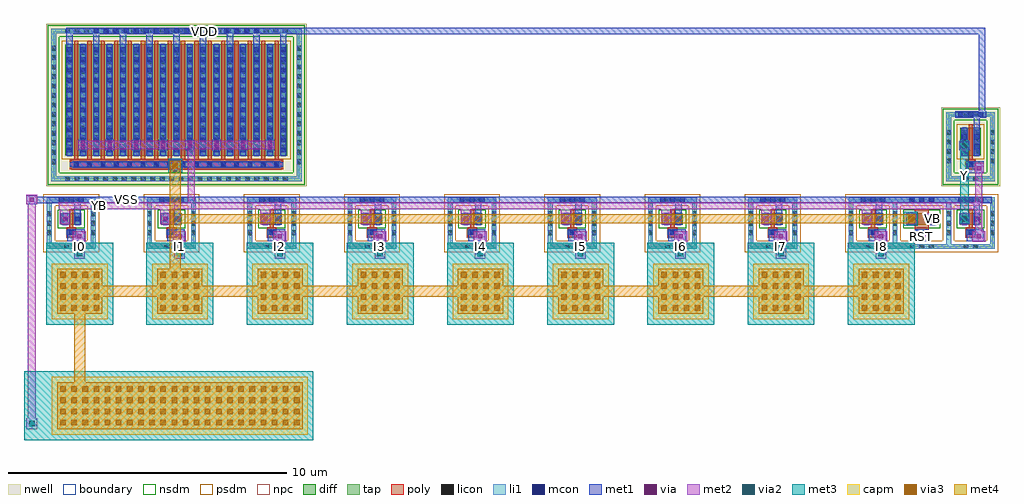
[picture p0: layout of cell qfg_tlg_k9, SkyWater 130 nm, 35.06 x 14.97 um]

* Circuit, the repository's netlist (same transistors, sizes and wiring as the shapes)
.subckt qfg_tlg_k9 I0 I1 I2 I3 I4 I5 I6 I7 I8 RST VB Y YB FG VDD VSS
XMP  YB FG VDD VDD sky130_fd_pr__pfet_01v8 W=64.0 L=0.15
XMNI0 YB I0 VSS VSS sky130_fd_pr__nfet_01v8 W=0.42 L=0.15
XMNI1 YB I1 VSS VSS sky130_fd_pr__nfet_01v8 W=0.42 L=0.15
XMNI2 YB I2 VSS VSS sky130_fd_pr__nfet_01v8 W=0.42 L=0.15
XMNI3 YB I3 VSS VSS sky130_fd_pr__nfet_01v8 W=0.42 L=0.15
XMNI4 YB I4 VSS VSS sky130_fd_pr__nfet_01v8 W=0.42 L=0.15
XMNI5 YB I5 VSS VSS sky130_fd_pr__nfet_01v8 W=0.42 L=0.15
XMNI6 YB I6 VSS VSS sky130_fd_pr__nfet_01v8 W=0.42 L=0.15
XMNI7 YB I7 VSS VSS sky130_fd_pr__nfet_01v8 W=0.42 L=0.15
XMNI8 YB I8 VSS VSS sky130_fd_pr__nfet_01v8 W=0.42 L=0.15
XCI0 FG I0 sky130_fd_pr__cap_mim_m3_1 W=2.0 L=2.0 MF=1
XCI1 FG I1 sky130_fd_pr__cap_mim_m3_1 W=2.0 L=2.0 MF=1
XCI2 FG I2 sky130_fd_pr__cap_mim_m3_1 W=2.0 L=2.0 MF=1
XCI3 FG I3 sky130_fd_pr__cap_mim_m3_1 W=2.0 L=2.0 MF=1
XCI4 FG I4 sky130_fd_pr__cap_mim_m3_1 W=2.0 L=2.0 MF=1
XCI5 FG I5 sky130_fd_pr__cap_mim_m3_1 W=2.0 L=2.0 MF=1
XCI6 FG I6 sky130_fd_pr__cap_mim_m3_1 W=2.0 L=2.0 MF=1
XCI7 FG I7 sky130_fd_pr__cap_mim_m3_1 W=2.0 L=2.0 MF=1
XCI8 FG I8 sky130_fd_pr__cap_mim_m3_1 W=2.0 L=2.0 MF=1
XCBL FG VSS sky130_fd_pr__cap_mim_m3_1 W=9.2 L=2.08 MF=1
XMR  FG RST VB VSS sky130_fd_pr__nfet_01v8 W=0.42 L=0.5
XIP  Y  YB VDD VDD sky130_fd_pr__pfet_01v8 W=1.0 L=0.15
XIN  Y  YB VSS VSS sky130_fd_pr__nfet_01v8 W=0.42 L=0.15
.ends qfg_tlg_k9

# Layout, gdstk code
import gdstk
lib = gdstk.Library(unit=1e-6, precision=1e-09)
def R(c, l, rs):  # rectangles x0, y0, x1, y1
    for r in rs: c.add(gdstk.rectangle(r[:2], r[2:], *l))
def A(c, l, x, y, w, h, nx, ny, dx, dy):  # array of equal rectangles
    R(c, l, [(x+i*dx, y+j*dy, x+i*dx+w, y+j*dy+h) for i in range(nx) for j in range(ny)])
nwell = (64, 20)
diff = (65, 20)
tap = (65, 44)
poly = (66, 20)
licon = (66, 44)
li1 = (67, 20)
mcon = (67, 44)
met1 = (68, 20)
via = (68, 44)
met2 = (69, 20)
via2 = (69, 44)
met3 = (70, 20)
via3 = (70, 44)
met4 = (71, 20)
capm = (89, 44)
nsdm = (93, 44)
psdm = (94, 20)
npc = (95, 20)
boundary = (235, 4)

sky130_fd_pr__nfet_01v8_ = lib.new_cell('sky130_fd_pr__nfet_01v8_M48NH5')
R(sky130_fd_pr__nfet_01v8_, diff, [(-0.365,-0.055,0.365,0.365)])
R(sky130_fd_pr__nfet_01v8_, tap, [(-0.875,-0.925,0.875,-0.755), (-0.875,-0.755,-0.705,0.755), (0.705,-0.755,0.875,0.755), (-0.875,0.755,0.875,0.925)])
R(sky130_fd_pr__nfet_01v8_, poly, [(-0.165,-0.495,0.165,-0.165), (-0.075,-0.165,0.075,0.495)])
A(sky130_fd_pr__nfet_01v8_, licon, -0.875, -0.425, 0.17, 0.17, 1, 3, 0, 0.34)
A(sky130_fd_pr__nfet_01v8_, licon, 0.705, -0.425, 0.17, 0.17, 1, 3, 0, 0.34)
R(sky130_fd_pr__nfet_01v8_, licon, [(-0.255,-0.925,-0.085,-0.755), (0.085,-0.925,0.255,-0.755), (-0.085,-0.415,0.085,-0.245), (-0.305,0.07,-0.135,0.24), (0.135,0.07,0.305,0.24), (-0.255,0.755,-0.085,0.925), (0.085,0.755,0.255,0.925)])
R(sky130_fd_pr__nfet_01v8_, li1, [(-0.875,-0.925,0.875,-0.755), (-0.875,-0.755,-0.705,0.755), (0.705,-0.755,0.875,0.755), (-0.165,-0.415,0.165,-0.245), (-0.305,-0.075,-0.135,0.385), (0.135,-0.075,0.305,0.385), (-0.875,0.755,0.875,0.925)])
A(sky130_fd_pr__nfet_01v8_, mcon, -0.445, 0.755, 0.17, 0.17, 3, 1, 0.36, 0)
R(sky130_fd_pr__nfet_01v8_, mcon, [(-0.085,-0.415,0.085,-0.245), (-0.305,0.07,-0.135,0.24), (0.135,0.07,0.305,0.24)])
R(sky130_fd_pr__nfet_01v8_, met1, [(-0.145,-0.445,0.145,-0.215), (-0.335,-0.055,-0.105,0.365), (0.105,-0.055,0.335,0.365), (-0.555,0.725,0.555,0.955)])
R(sky130_fd_pr__nfet_01v8_, nsdm, [(-0.49,-0.18,0.49,0.49)])
R(sky130_fd_pr__nfet_01v8_, psdm, [(-1,-1.05,1,-0.63), (-1,-0.63,-0.58,0.63), (0.58,-0.63,1,0.63), (-1,0.63,1,1.05)])
R(sky130_fd_pr__nfet_01v8_, npc, [(-0.185,-0.515,0.185,-0.145)])
R(sky130_fd_pr__nfet_01v8_, boundary, [(-0.79,-0.84,0.79,0.84)])
sky130_fd_pr__nfet_01v8_.add(gdstk.Label('B', (0,-0.84), layer=67, texttype=5))
sky130_fd_pr__nfet_01v8_.add(gdstk.Label('D', (-0.22,0.155), layer=67, texttype=5))
sky130_fd_pr__nfet_01v8_.add(gdstk.Label('S', (0.22,0.155), layer=67, texttype=5))
sky130_fd_pr__nfet_01v8_.add(gdstk.Label('G', (0,-0.33), layer=67, texttype=5))

sky130_fd_pr__pfet_01v8_ = lib.new_cell('sky130_fd_pr__pfet_01v8_4SLV3C')
R(sky130_fd_pr__pfet_01v8_, nwell, [(-4.675,-2.92,4.675,2.92)])
R(sky130_fd_pr__pfet_01v8_, diff, [(-3.985,-1.82,3.985,2.18)])
R(sky130_fd_pr__pfet_01v8_, tap, [(-4.495,-2.74,4.495,-2.57), (-4.495,-2.57,-4.325,2.57), (4.325,-2.57,4.495,2.57), (-4.495,2.57,4.495,2.74)])
A(sky130_fd_pr__pfet_01v8_, poly, -3.675, -1.975, 0.15, 4.285, 16, 1, 0.48, 0)
R(sky130_fd_pr__pfet_01v8_, poly, [(-3.84,-2.305,3.84,-1.975)])
A(sky130_fd_pr__pfet_01v8_, licon, -3.995, -2.74, 0.17, 0.17, 24, 2, 0.34, 5.31)
A(sky130_fd_pr__pfet_01v8_, licon, -3.685, -2.225, 0.17, 0.17, 16, 1, 0.48, 0)
A(sky130_fd_pr__pfet_01v8_, licon, -4.495, -2.125, 0.17, 0.17, 1, 13, 0, 0.34)
A(sky130_fd_pr__pfet_01v8_, licon, 4.325, -2.125, 0.17, 0.17, 1, 13, 0, 0.34)
A(sky130_fd_pr__pfet_01v8_, licon, -3.925, -1.605, 0.17, 0.17, 17, 11, 0.48, 0.34)
A(sky130_fd_pr__pfet_01v8_, li1, -3.925, -1.84, 0.17, 4.04, 17, 1, 0.48, 0)
R(sky130_fd_pr__pfet_01v8_, li1, [(-4.495,-2.74,4.495,-2.57), (-4.495,-2.57,-4.325,2.57), (4.325,-2.57,4.495,2.57), (-3.84,-2.225,3.84,-2.055), (-4.495,2.57,4.495,2.74)])
A(sky130_fd_pr__pfet_01v8_, mcon, -3.685, -2.225, 0.17, 0.17, 16, 1, 0.48, 0)
A(sky130_fd_pr__pfet_01v8_, mcon, -3.925, -1.705, 0.17, 0.17, 17, 11, 0.48, 0.36)
A(sky130_fd_pr__pfet_01v8_, mcon, -2.965, 2.57, 0.17, 0.17, 17, 1, 0.36, 0)
A(sky130_fd_pr__pfet_01v8_, met1, -3.745, -2.255, 0.29, 0.03, 16, 2, 0.48, 0.2)
A(sky130_fd_pr__pfet_01v8_, met1, -3.955, -1.82, 0.23, 4, 17, 1, 0.48, 0)
R(sky130_fd_pr__pfet_01v8_, met1, [(-3.84,-2.225,3.84,-2.055), (-3.085,2.54,3.085,2.77)])
R(sky130_fd_pr__pfet_01v8_, nsdm, [(-4.62,-2.865,4.62,-2.445), (-4.62,-2.445,-4.2,2.445), (4.2,-2.445,4.62,2.445), (-4.62,2.445,4.62,2.865)])
R(sky130_fd_pr__pfet_01v8_, psdm, [(-4.11,-1.945,4.11,2.305)])
R(sky130_fd_pr__pfet_01v8_, npc, [(-3.785,-2.325,3.785,-1.955)])
R(sky130_fd_pr__pfet_01v8_, boundary, [(-4.41,-2.655,4.41,2.655)])
sky130_fd_pr__pfet_01v8_.add(gdstk.Label('B', (0,-2.655), layer=67, texttype=5))
sky130_fd_pr__pfet_01v8_.add(gdstk.Label('D0', (-3.84,0.18), layer=67, texttype=5))
sky130_fd_pr__pfet_01v8_.add(gdstk.Label('G', (2.64,-2.14), layer=67, texttype=5))
sky130_fd_pr__pfet_01v8_.add(gdstk.Label('G', (-0.24,-2.14), layer=67, texttype=5))
sky130_fd_pr__pfet_01v8_.add(gdstk.Label('G', (3.12,-2.14), layer=67, texttype=5))
sky130_fd_pr__pfet_01v8_.add(gdstk.Label('G', (2.16,-2.14), layer=67, texttype=5))
sky130_fd_pr__pfet_01v8_.add(gdstk.Label('G', (1.68,-2.14), layer=67, texttype=5))
sky130_fd_pr__pfet_01v8_.add(gdstk.Label('G', (1.2,-2.14), layer=67, texttype=5))
sky130_fd_pr__pfet_01v8_.add(gdstk.Label('G', (0.72,-2.14), layer=67, texttype=5))
sky130_fd_pr__pfet_01v8_.add(gdstk.Label('G', (0.24,-2.14), layer=67, texttype=5))
sky130_fd_pr__pfet_01v8_.add(gdstk.Label('G', (3.6,-2.14), layer=67, texttype=5))
sky130_fd_pr__pfet_01v8_.add(gdstk.Label('G', (-0.72,-2.14), layer=67, texttype=5))
sky130_fd_pr__pfet_01v8_.add(gdstk.Label('G', (-1.2,-2.14), layer=67, texttype=5))
sky130_fd_pr__pfet_01v8_.add(gdstk.Label('G', (-1.68,-2.14), layer=67, texttype=5))
sky130_fd_pr__pfet_01v8_.add(gdstk.Label('G', (-2.16,-2.14), layer=67, texttype=5))
sky130_fd_pr__pfet_01v8_.add(gdstk.Label('G', (-2.64,-2.14), layer=67, texttype=5))
sky130_fd_pr__pfet_01v8_.add(gdstk.Label('G', (-3.12,-2.14), layer=67, texttype=5))
sky130_fd_pr__pfet_01v8_.add(gdstk.Label('G', (-3.6,-2.14), layer=67, texttype=5))
sky130_fd_pr__pfet_01v8_.add(gdstk.Label('S1', (-3.36,0.18), layer=67, texttype=5))
sky130_fd_pr__pfet_01v8_.add(gdstk.Label('D2', (-2.88,0.18), layer=67, texttype=5))
sky130_fd_pr__pfet_01v8_.add(gdstk.Label('S3', (-2.4,0.18), layer=67, texttype=5))
sky130_fd_pr__pfet_01v8_.add(gdstk.Label('D4', (-1.92,0.18), layer=67, texttype=5))
sky130_fd_pr__pfet_01v8_.add(gdstk.Label('S5', (-1.44,0.18), layer=67, texttype=5))
sky130_fd_pr__pfet_01v8_.add(gdstk.Label('D6', (-0.96,0.18), layer=67, texttype=5))
sky130_fd_pr__pfet_01v8_.add(gdstk.Label('S7', (-0.48,0.18), layer=67, texttype=5))
sky130_fd_pr__pfet_01v8_.add(gdstk.Label('D8', (0,0.18), layer=67, texttype=5))
sky130_fd_pr__pfet_01v8_.add(gdstk.Label('S9', (0.48,0.18), layer=67, texttype=5))
sky130_fd_pr__pfet_01v8_.add(gdstk.Label('D10', (0.96,0.18), layer=67, texttype=5))
sky130_fd_pr__pfet_01v8_.add(gdstk.Label('S11', (1.44,0.18), layer=67, texttype=5))
sky130_fd_pr__pfet_01v8_.add(gdstk.Label('D12', (1.92,0.18), layer=67, texttype=5))
sky130_fd_pr__pfet_01v8_.add(gdstk.Label('S13', (2.4,0.18), layer=67, texttype=5))
sky130_fd_pr__pfet_01v8_.add(gdstk.Label('D14', (2.88,0.18), layer=67, texttype=5))
sky130_fd_pr__pfet_01v8_.add(gdstk.Label('S15', (3.36,0.18), layer=67, texttype=5))

c_sky130_fd_pr__pfet_01v8_ = lib.new_cell('sky130_fd_pr__pfet_01v8_SEBX2B')
R(c_sky130_fd_pr__pfet_01v8_, nwell, [(-1.055,-1.42,1.055,1.42)])
R(c_sky130_fd_pr__pfet_01v8_, diff, [(-0.365,-0.32,0.365,0.68)])
R(c_sky130_fd_pr__pfet_01v8_, tap, [(-0.875,-1.24,0.875,-1.07), (-0.875,-1.07,-0.705,1.07), (0.705,-1.07,0.875,1.07), (-0.875,1.07,0.875,1.24)])
R(c_sky130_fd_pr__pfet_01v8_, poly, [(-0.165,-0.805,0.165,-0.475), (-0.075,-0.475,0.075,0.81)])
A(c_sky130_fd_pr__pfet_01v8_, licon, -0.875, -0.595, 0.17, 0.17, 1, 4, 0, 0.34)
A(c_sky130_fd_pr__pfet_01v8_, licon, 0.705, -0.595, 0.17, 0.17, 1, 4, 0, 0.34)
A(c_sky130_fd_pr__pfet_01v8_, licon, -0.305, -0.245, 0.17, 0.17, 1, 3, 0, 0.34)
A(c_sky130_fd_pr__pfet_01v8_, licon, 0.135, -0.245, 0.17, 0.17, 1, 3, 0, 0.34)
R(c_sky130_fd_pr__pfet_01v8_, licon, [(-0.255,-1.24,-0.085,-1.07), (0.085,-1.24,0.255,-1.07), (-0.085,-0.725,0.085,-0.555), (-0.255,1.07,-0.085,1.24), (0.085,1.07,0.255,1.24)])
R(c_sky130_fd_pr__pfet_01v8_, li1, [(-0.875,-1.24,0.875,-1.07), (-0.875,-1.07,-0.705,1.07), (0.705,-1.07,0.875,1.07), (-0.165,-0.725,0.165,-0.555), (-0.305,-0.34,-0.135,0.7), (0.135,-0.34,0.305,0.7), (-0.875,1.07,0.875,1.24)])
A(c_sky130_fd_pr__pfet_01v8_, mcon, -0.445, 1.07, 0.17, 0.17, 3, 1, 0.36, 0)
R(c_sky130_fd_pr__pfet_01v8_, mcon, [(-0.085,-0.725,0.085,-0.555), (-0.305,-0.085,-0.135,0.085), (0.135,-0.085,0.305,0.085), (-0.305,0.275,-0.135,0.445), (0.135,0.275,0.305,0.445)])
R(c_sky130_fd_pr__pfet_01v8_, met1, [(-0.145,-0.755,0.145,-0.525), (-0.335,-0.32,-0.105,0.68), (0.105,-0.32,0.335,0.68), (-0.555,1.04,0.555,1.27)])
R(c_sky130_fd_pr__pfet_01v8_, nsdm, [(-1,-1.365,1,-0.945), (-1,-0.945,-0.58,0.945), (0.58,-0.945,1,0.945), (-1,0.945,1,1.365)])
R(c_sky130_fd_pr__pfet_01v8_, psdm, [(-0.49,-0.445,0.49,0.805)])
R(c_sky130_fd_pr__pfet_01v8_, npc, [(-0.185,-0.825,0.185,-0.455)])
R(c_sky130_fd_pr__pfet_01v8_, boundary, [(-0.79,-1.155,0.79,1.155)])
c_sky130_fd_pr__pfet_01v8_.add(gdstk.Label('B', (0,-1.155), layer=67, texttype=5))
c_sky130_fd_pr__pfet_01v8_.add(gdstk.Label('D', (-0.22,0.18), layer=67, texttype=5))
c_sky130_fd_pr__pfet_01v8_.add(gdstk.Label('S', (0.22,0.18), layer=67, texttype=5))
c_sky130_fd_pr__pfet_01v8_.add(gdstk.Label('G', (0,-0.64), layer=67, texttype=5))

c_sky130_fd_pr__nfet_01v8_ = lib.new_cell('sky130_fd_pr__nfet_01v8_EQ7N4B')
R(c_sky130_fd_pr__nfet_01v8_, diff, [(-0.54,-0.055,0.54,0.365)])
R(c_sky130_fd_pr__nfet_01v8_, tap, [(-1.05,-0.925,1.05,-0.755), (-1.05,-0.755,-0.88,0.755), (0.88,-0.755,1.05,0.755), (-1.05,0.755,1.05,0.925)])
R(c_sky130_fd_pr__nfet_01v8_, poly, [(-0.25,-0.495,0.25,0.495)])
A(c_sky130_fd_pr__nfet_01v8_, licon, -0.425, -0.925, 0.17, 0.17, 3, 2, 0.34, 1.68)
A(c_sky130_fd_pr__nfet_01v8_, licon, -1.05, -0.425, 0.17, 0.17, 1, 3, 0, 0.34)
A(c_sky130_fd_pr__nfet_01v8_, licon, 0.88, -0.425, 0.17, 0.17, 1, 3, 0, 0.34)
R(c_sky130_fd_pr__nfet_01v8_, licon, [(-0.085,-0.415,0.085,-0.245), (-0.48,0.07,-0.31,0.24), (0.31,0.07,0.48,0.24)])
R(c_sky130_fd_pr__nfet_01v8_, li1, [(-1.05,-0.925,1.05,-0.755), (-1.05,-0.755,-0.88,0.755), (0.88,-0.755,1.05,0.755), (-0.25,-0.415,0.25,-0.245), (-0.48,-0.075,-0.31,0.385), (0.31,-0.075,0.48,0.385), (-1.05,0.755,1.05,0.925)])
A(c_sky130_fd_pr__nfet_01v8_, mcon, -0.445, 0.755, 0.17, 0.17, 3, 1, 0.36, 0)
R(c_sky130_fd_pr__nfet_01v8_, mcon, [(-0.085,-0.415,0.085,-0.245), (-0.48,0.07,-0.31,0.24), (0.31,0.07,0.48,0.24)])
R(c_sky130_fd_pr__nfet_01v8_, met1, [(-0.23,-0.445,0.23,-0.215), (-0.51,-0.055,-0.28,0.365), (0.28,-0.055,0.51,0.365), (-0.675,0.725,0.675,0.955)])
R(c_sky130_fd_pr__nfet_01v8_, nsdm, [(-0.665,-0.18,0.665,0.49)])
R(c_sky130_fd_pr__nfet_01v8_, psdm, [(-1.175,-1.05,1.175,-0.63), (-1.175,-0.63,-0.755,0.63), (0.755,-0.63,1.175,0.63), (-1.175,0.63,1.175,1.05)])
R(c_sky130_fd_pr__nfet_01v8_, npc, [(-0.185,-0.515,0.185,-0.145)])
R(c_sky130_fd_pr__nfet_01v8_, boundary, [(-0.965,-0.84,0.965,0.84)])
c_sky130_fd_pr__nfet_01v8_.add(gdstk.Label('B', (0,-0.84), layer=67, texttype=5))
c_sky130_fd_pr__nfet_01v8_.add(gdstk.Label('D', (-0.395,0.155), layer=67, texttype=5))
c_sky130_fd_pr__nfet_01v8_.add(gdstk.Label('S', (0.395,0.155), layer=67, texttype=5))
c_sky130_fd_pr__nfet_01v8_.add(gdstk.Label('G', (0,-0.33), layer=67, texttype=5))

qfg_tlg_k9 = lib.new_cell('qfg_tlg_k9')
A(qfg_tlg_k9, met1, 0.755, 7.15, 0.625, 0.435, 9, 1, 3.6, 0)
A(qfg_tlg_k9, met1, 0.52, 7.77, 0.32, 0.38, 9, 1, 3.6, 0)
A(qfg_tlg_k9, met1, 1.005, 8.1, 0.23, 0.425, 9, 1, 3.6, 0)
A(qfg_tlg_k9, met1, 1.155, 10.42, 0.32, 0.38, 8, 1, 0.96, 0)
A(qfg_tlg_k9, met1, 0.72, 14.2, 0.23, 0.39, 9, 1, 0.96, 0)
R(qfg_tlg_k9, met1, [(31.225,7.15,31.685,7.585), (33.065,7.15,33.69,7.585), (30.9,7.77,31.22,8.15), (31.69,7.77,32.01,8.15), (32.83,7.77,33.15,8.15), (33.315,8.1,33.545,8.525), (-0.72,8.48,-0.32,8.525), (-0.72,8.525,33.97,8.755), (-0.72,8.755,-0.32,8.8), (33.065,9.6,33.69,10.025), (4.43,9.67,4.83,9.795), (0.93,9.795,8.42,10.025), (4.43,10.025,4.83,10.08), (32.83,10.4,33.15,10.78), (33.315,11.2,33.545,11.59), (33.315,11.59,33.74,11.61), (33.51,11.61,33.74,14.59), (0.72,14.59,33.74,14.82)])
A(qfg_tlg_k9, via, 1.115, 7.255, 0.15, 0.15, 9, 1, 3.6, 0)
A(qfg_tlg_k9, via, 0.605, 7.885, 0.15, 0.15, 9, 1, 3.6, 0)
A(qfg_tlg_k9, via, 1.24, 10.535, 0.15, 0.15, 8, 1, 0.96, 0)
R(qfg_tlg_k9, via, [(31.38,7.255,31.53,7.405), (33.425,7.255,33.575,7.405), (30.985,7.885,31.135,8.035), (31.775,7.885,31.925,8.035), (32.915,7.885,33.065,8.035), (-0.595,8.565,-0.445,8.715), (33.435,9.705,33.585,9.855), (4.555,9.8,4.705,9.95), (32.915,10.515,33.065,10.665)])
A(qfg_tlg_k9, met2, 1, 6.52, 0.38, 0.38, 9, 1, 3.6, 0)
A(qfg_tlg_k9, met2, 1.06, 6.9, 0.26, 0.24, 9, 1, 3.6, 0)
A(qfg_tlg_k9, met2, 0.96, 7.14, 0.46, 0.38, 9, 1, 3.6, 0)
A(qfg_tlg_k9, met2, 0.49, 7.77, 0.38, 0.53, 9, 1, 3.6, 0)
R(qfg_tlg_k9, met2, [(-0.72,0.4,-0.32,0.8), (-0.66,0.8,-0.38,8.48), (33.27,7.14,33.73,7.52), (31.265,7.17,31.645,7.49), (33.37,7.52,33.63,8.3), (30.87,7.77,31.25,8.15), (31.66,7.77,32.04,8.15), (32.8,7.77,33.18,8.15), (0.45,8.3,33.63,8.56), (-0.72,8.48,-0.32,8.83), (5.08,8.56,5.34,10.45), (33.37,8.56,33.63,9.62), (33.35,9.62,33.69,9.97), (4.44,9.7,4.82,10.05), (32.8,10.43,33.18,10.75), (1.135,10.45,8.215,10.77)])
A(qfg_tlg_k9, via2, 1.09, 6.61, 0.2, 0.2, 9, 1, 3.6, 0)
R(qfg_tlg_k9, via2, [(-0.62,0.5,-0.42,0.7), (30.96,7.86,31.16,8.06), (32.89,7.86,33.09,8.06), (4.53,9.775,4.73,9.975), (32.89,10.49,33.09,10.69)])
A(qfg_tlg_k9, met3, 0, 4.15, 2.4, 2.95, 9, 1, 3.6, 0)
R(qfg_tlg_k9, met3, [(-0.8,0,9.6,2.48), (30.81,7.71,31.31,8.21), (32.82,7.79,33.16,8.13), (32.84,8.13,33.14,10.42), (4.38,9.625,4.88,10.125), (32.82,10.42,33.16,10.76)])
A(qfg_tlg_k9, via3, 0.5, 0.54, 0.2, 0.2, 22, 4, 0.4, 0.4)
A(qfg_tlg_k9, via3, 0.5, 4.65, 0.2, 0.2, 4, 4, 0.4, 0.4)
A(qfg_tlg_k9, via3, 4.1, 4.65, 0.2, 0.2, 4, 4, 0.4, 0.4)
A(qfg_tlg_k9, via3, 7.7, 4.65, 0.2, 0.2, 4, 4, 0.4, 0.4)
A(qfg_tlg_k9, via3, 11.3, 4.65, 0.2, 0.2, 4, 4, 0.4, 0.4)
A(qfg_tlg_k9, via3, 14.9, 4.65, 0.2, 0.2, 4, 4, 0.4, 0.4)
A(qfg_tlg_k9, via3, 18.5, 4.65, 0.2, 0.2, 4, 4, 0.4, 0.4)
A(qfg_tlg_k9, via3, 22.1, 4.65, 0.2, 0.2, 4, 4, 0.4, 0.4)
A(qfg_tlg_k9, via3, 25.7, 4.65, 0.2, 0.2, 4, 4, 0.4, 0.4)
A(qfg_tlg_k9, via3, 29.3, 4.65, 0.2, 0.2, 4, 4, 0.4, 0.4)
R(qfg_tlg_k9, via3, [(30.96,7.86,31.16,8.06), (4.53,9.775,4.73,9.975)])
A(qfg_tlg_k9, met4, 0.39, 4.54, 1.62, 0.61, 9, 2, 3.6, 1.01)
R(qfg_tlg_k9, met4, [(0.39,0.39,9.21,2.09), (1,2.09,1.4,4.54), (0.39,5.15,30.81,5.55), (4.43,6.16,4.83,7.795), (4.43,7.795,31.225,8.125), (4.43,8.125,4.83,10.05)])
A(qfg_tlg_k9, capm, 0.2, 4.35, 2, 2, 9, 1, 3.6, 0)
R(qfg_tlg_k9, capm, [(0.2,0.2,9.4,2.28)])
qfg_tlg_k9.add(gdstk.Reference(sky130_fd_pr__nfet_01v8_, (0.9,7.8)))
qfg_tlg_k9.add(gdstk.Reference(sky130_fd_pr__nfet_01v8_, (4.5,7.8)))
qfg_tlg_k9.add(gdstk.Reference(sky130_fd_pr__nfet_01v8_, (8.1,7.8)))
qfg_tlg_k9.add(gdstk.Reference(sky130_fd_pr__pfet_01v8_, (4.675,12.05)))
qfg_tlg_k9.add(gdstk.Reference(sky130_fd_pr__nfet_01v8_, (11.7,7.8)))
qfg_tlg_k9.add(gdstk.Reference(sky130_fd_pr__nfet_01v8_, (15.3,7.8)))
qfg_tlg_k9.add(gdstk.Reference(sky130_fd_pr__nfet_01v8_, (18.9,7.8)))
qfg_tlg_k9.add(gdstk.Reference(sky130_fd_pr__nfet_01v8_, (22.5,7.8)))
qfg_tlg_k9.add(gdstk.Reference(sky130_fd_pr__nfet_01v8_, (26.1,7.8)))
qfg_tlg_k9.add(gdstk.Reference(sky130_fd_pr__nfet_01v8_, (33.21,7.8)))
qfg_tlg_k9.add(gdstk.Reference(c_sky130_fd_pr__pfet_01v8_, (33.21,10.55)))
qfg_tlg_k9.add(gdstk.Reference(sky130_fd_pr__nfet_01v8_, (29.7,7.8)))
qfg_tlg_k9.add(gdstk.Reference(c_sky130_fd_pr__nfet_01v8_, (31.455,7.8)))
qfg_tlg_k9.add(gdstk.Label('I0', (1.19,6.95), layer=70, texttype=5))
qfg_tlg_k9.add(gdstk.Label('I1', (4.79,6.95), layer=70, texttype=5))
qfg_tlg_k9.add(gdstk.Label('I2', (8.39,6.95), layer=70, texttype=5))
qfg_tlg_k9.add(gdstk.Label('I3', (11.99,6.95), layer=70, texttype=5))
qfg_tlg_k9.add(gdstk.Label('I4', (15.59,6.95), layer=70, texttype=5))
qfg_tlg_k9.add(gdstk.Label('I5', (19.19,6.95), layer=70, texttype=5))
qfg_tlg_k9.add(gdstk.Label('I6', (22.79,6.95), layer=70, texttype=5))
qfg_tlg_k9.add(gdstk.Label('I7', (26.39,6.95), layer=70, texttype=5))
qfg_tlg_k9.add(gdstk.Label('I8', (29.99,6.95), layer=70, texttype=5))
qfg_tlg_k9.add(gdstk.Label('VB', (31.85,7.96), layer=69, texttype=5))
qfg_tlg_k9.add(gdstk.Label('RST', (31.455,7.33), layer=69, texttype=5))
qfg_tlg_k9.add(gdstk.Label('FG', (4.63,7), layer=71, texttype=5))
qfg_tlg_k9.add(gdstk.Label('Y', (32.99,9.5), layer=70, texttype=5))
qfg_tlg_k9.add(gdstk.Label('YB', (1.9,8.43), layer=69, texttype=5))
qfg_tlg_k9.add(gdstk.Label('VDD', (5.675,14.705), layer=68, texttype=5))
qfg_tlg_k9.add(gdstk.Label('VSS', (2.9,8.64), layer=68, texttype=5))

lib.write_gds('qfg_tlg_k9.gds')
